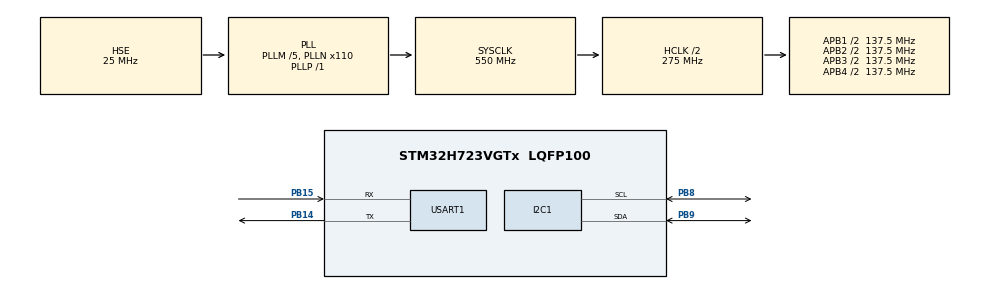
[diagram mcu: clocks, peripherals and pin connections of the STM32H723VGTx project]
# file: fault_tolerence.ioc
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anal#MicroXplorer Configuration settings - do not modify
CORTEX_M7.default_mode_Activation=1
FREERTOS.Tasks01=defaultTask,24,128,StartDefaultTask,Default,NULL,Dynamic,NULL,NULL
I2C1.Timing=0x60404E72
Mcu.Family=STM32H7
Mcu.Name=STM32H723VGTx
Mcu.Package=LQFP100
NVIC.PriorityGroup=NVIC_PRIORITYGROUP_4
NVIC.TIM6_DAC_IRQn=true\:15\:0\:false\:false\:true\:false\:false\:true\:true
NVIC.TimeBase=TIM6_DAC_IRQn
NVIC.TimeBaseIP=TIM6
PB14.Mode=Asynchronous
PB14.Signal=USART1_TX
PB15.Mode=Asynchronous
PB15.Signal=USART1_RX
PB8.Mode=I2C
PB8.Signal=I2C1_SCL
PB9.Mode=I2C
PB9.Signal=I2C1_SDA
PH0-OSC_IN.Mode=HSE-External-Oscillator
PH0-OSC_IN.Signal=RCC_OSC_IN
PH1-OSC_OUT.Mode=HSE-External-Oscillator
PH1-OSC_OUT.Signal=RCC_OSC_OUT
ProjectManager.HeapSize=0x200
ProjectManager.StackSize=0x400
ProjectManager.TargetToolchain=STM32CubeIDE
RCC.ADCFreq_Value=50390625
RCC.APB1Freq_Value=137500000
RCC.APB2Freq_Value=137500000
RCC.APB3Freq_Value=137500000
RCC.APB4Freq_Value=137500000
RCC.CortexFreq_Value=550000000
RCC.D1PPRE=RCC_APB3_DIV2
RCC.D2PPRE1=RCC_APB1_DIV2
RCC.D2PPRE2=RCC_APB2_DIV2
RCC.D3PPRE=RCC_APB4_DIV2
RCC.DIVM1=5
RCC.DIVN1=110
RCC.DIVP1=1
RCC.HCLKFreq_Value=275000000
RCC.HPRE=RCC_HCLK_DIV2
RCC.PLLSourceVirtual=RCC_PLLSOURCE_HSE
RCC.SYSCLKFreq_VALUE=550000000
RCC.SYSCLKSource=RCC_SYSCLKSOURCE_PLLCLK
RCC.USBFreq_Value=275000000
USART1.VirtualMode-Asynchronous=VM_ASYNC
VP_FREERTOS_VS_CMSIS_V2.Mode=CMSIS_V2
VP_MEMORYMAP_VS_MEMORYMAP.Mode=CurAppReg
VP_SYS_VS_tim6.Mode=TIM6
board=custom

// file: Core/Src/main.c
/* USER CODE BEGIN Header */
/**
  ******************************************************************************
  * @file           : main.c
  * @brief          : Main program body
  ******************************************************************************
  * @attention
  *
  * Copyright (c) 2026 STMicroelectronics.
  * All rights reserved.
  *
  * This software is licensed under terms that can be found in the LICENSE file
  * in the root directory of this software component.
  * If no LICENSE file comes with this software, it is provided AS-IS.
  *
  ******************************************************************************
  */
/* USER CODE END Header */
#include "main.h"
#include "FreeRTOS.h"
#include "cmsis_os2.h"

/* USER CODE BEGIN Includes */
#include "app.h"
#include <stdio.h>
/* USER CODE END Includes */

I2C_HandleTypeDef hi2c1;

UART_HandleTypeDef huart1;

/* Definitions for defaultTask */
osThreadId_t defaultTaskHandle;
const osThreadAttr_t defaultTask_attributes = {
  .name = "defaultTask",
  .stack_size = 128 * 4,
  .priority = (osPriority_t) osPriorityNormal,
};

void SystemClock_Config(void);
static void MPU_Config(void);
static void MX_GPIO_Init(void);
static void MX_I2C1_Init(void);
static void MX_USART1_UART_Init(void);
void StartDefaultTask(void *argument);

/* USER CODE BEGIN PFP */
void I2C1_ClearBus(void);
/* USER CODE END PFP */

/* USER CODE BEGIN 0 */
void I2C1_ClearBus(void)
{
  GPIO_InitTypeDef gpio = {0};
  __HAL_RCC_GPIOB_CLK_ENABLE();

  /* Configure PB8 (SCL) and PB9 (SDA) as Open-Drain GPIO outputs with pullup */
  gpio.Pin = GPIO_PIN_8 | GPIO_PIN_9;
  gpio.Mode = GPIO_MODE_OUTPUT_OD;
  gpio.Pull = GPIO_PULLUP;
  gpio.Speed = GPIO_SPEED_FREQ_LOW;
  HAL_GPIO_Init(GPIOB, &gpio);

  /* Set both HIGH initially */
  HAL_GPIO_WritePin(GPIOB, GPIO_PIN_8 | GPIO_PIN_9, GPIO_PIN_SET);
  for (volatile int d = 0; d < 1000; d++) __NOP();

  /* Clock SCL up to 16 times to release SDA if held by a slave */
  for (int i = 0; i < 16; i++)
  {
    if (HAL_GPIO_ReadPin(GPIOB, GPIO_PIN_9) == GPIO_PIN_SET && i >= 9)
    {
      break;
    }
    HAL_GPIO_WritePin(GPIOB, GPIO_PIN_8, GPIO_PIN_RESET);
    for (volatile int d = 0; d < 1000; d++) __NOP();
    HAL_GPIO_WritePin(GPIOB, GPIO_PIN_8, GPIO_PIN_SET);
    for (volatile int d = 0; d < 1000; d++) __NOP();
  }

  /* Generate I2C STOP condition */
  HAL_GPIO_WritePin(GPIOB, GPIO_PIN_9, GPIO_PIN_RESET);
  for (volatile int d = 0; d < 1000; d++) __NOP();
  HAL_GPIO_WritePin(GPIOB, GPIO_PIN_8, GPIO_PIN_SET);
  for (volatile int d = 0; d < 1000; d++) __NOP();
  HAL_GPIO_WritePin(GPIOB, GPIO_PIN_9, GPIO_PIN_SET);
  for (volatile int d = 0; d < 1000; d++) __NOP();
}
/* USER CODE END 0 */

int main(void)
{

  /* MPU Configuration--------------------------------------------------------*/
  MPU_Config();

  /* MCU Configuration--------------------------------------------------------*/

  /* Reset of all peripherals, Initializes the Flash interface and the Systick. */
  HAL_Init();

  /* Configure the system clock */
  SystemClock_Config();

  /* Initialize all configured peripherals */
  MX_GPIO_Init();

  /* Clear any stuck I2C bus state from previous reset */
  I2C1_ClearBus();

  MX_I2C1_Init();
  MX_USART1_UART_Init();
  /* USER CODE BEGIN 2 */
  static const uint8_t startup_banner[] =
      "\r\n=======================================================\r\n"
      " STM32H723 FAULT-TOLERANT MPU6050/6500 RTOS SYSTEM\r\n"
      "=======================================================\r\n";
  (void)HAL_UART_Transmit(&huart1, (uint8_t *)startup_banner,
                          sizeof(startup_banner) - 1U, 100U);

  /* Allow MPU internal Power-On Reset to complete (~100ms) */
  HAL_Delay(100U);

  App_Initialize(&hi2c1, &huart1);
  /* USER CODE END 2 */

  /* Init scheduler */
  osKernelInitialize();

  /* Create the thread(s) */
  /* creation of defaultTask */
  defaultTaskHandle = osThreadNew(StartDefaultTask, NULL, &defaultTask_attributes);

  /* USER CODE BEGIN RTOS_THREADS */
  if (App_CreateTasks() != pdPASS)
  {
    static const uint8_t tasks_failed_message[] = "[APP] Task/IWDG setup FAILED\r\n";
    (void)HAL_UART_Transmit(&huart1, (uint8_t *)tasks_failed_message,
                            sizeof(tasks_failed_message) - 1U, 100U);
    Error_Handler();
  }
  static const uint8_t tasks_created_message[] = "[RTOS] Tasks created; IWDG started\r\n";
  (void)HAL_UART_Transmit(&huart1, (uint8_t *)tasks_created_message,
                          sizeof(tasks_created_message) - 1U, 100U);
  /* USER CODE END RTOS_THREADS */

  /* Start scheduler */
  osKernelStart();

  /* We should never get here as control is now taken by the scheduler */

  /* Infinite loop */
  while (1)
  {

  }
}

void SystemClock_Config(void)
{
  RCC_OscInitTypeDef RCC_OscInitStruct = {0};
  RCC_ClkInitTypeDef RCC_ClkInitStruct = {0};

  /** Supply configuration update enable
  */
  HAL_PWREx_ConfigSupply(PWR_LDO_SUPPLY);

  /** Configure the main internal regulator output voltage
  */
  __HAL_PWR_VOLTAGESCALING_CONFIG(PWR_REGULATOR_VOLTAGE_SCALE0);

  while(!__HAL_PWR_GET_FLAG(PWR_FLAG_VOSRDY)) {}

  /** Initializes the RCC Oscillators according to the specified parameters
  * in the RCC_OscInitTypeDef structure.
  */
  RCC_OscInitStruct.OscillatorType = RCC_OSCILLATORTYPE_HSE;
  RCC_OscInitStruct.HSEState = RCC_HSE_ON;
  RCC_OscInitStruct.PLL.PLLState = RCC_PLL_ON;
  RCC_OscInitStruct.PLL.PLLSource = RCC_PLLSOURCE_HSE;
  RCC_OscInitStruct.PLL.PLLM = 5;
  RCC_OscInitStruct.PLL.PLLN = 110;
  RCC_OscInitStruct.PLL.PLLP = 1;
  RCC_OscInitStruct.PLL.PLLQ = 2;
  RCC_OscInitStruct.PLL.PLLR = 2;
  RCC_OscInitStruct.PLL.PLLRGE = RCC_PLL1VCIRANGE_2;
  RCC_OscInitStruct.PLL.PLLVCOSEL = RCC_PLL1VCOWIDE;
  RCC_OscInitStruct.PLL.PLLFRACN = 0;
  if (HAL_RCC_OscConfig(&RCC_OscInitStruct) != HAL_OK)
  {
    Error_Handler();
  }

  /** Initializes the CPU, AHB and APB buses clocks
  */
  RCC_ClkInitStruct.ClockType = RCC_CLOCKTYPE_HCLK|RCC_CLOCKTYPE_SYSCLK
                              |RCC_CLOCKTYPE_PCLK1|RCC_CLOCKTYPE_PCLK2
                              |RCC_CLOCKTYPE_D3PCLK1|RCC_CLOCKTYPE_D1PCLK1;
  RCC_ClkInitStruct.SYSCLKSource = RCC_SYSCLKSOURCE_PLLCLK;
  RCC_ClkInitStruct.SYSCLKDivider = RCC_SYSCLK_DIV1;
  RCC_ClkInitStruct.AHBCLKDivider = RCC_HCLK_DIV2;
  RCC_ClkInitStruct.APB3CLKDivider = RCC_APB3_DIV2;
  RCC_ClkInitStruct.APB1CLKDivider = RCC_APB1_DIV2;
  RCC_ClkInitStruct.APB2CLKDivider = RCC_APB2_DIV2;
  RCC_ClkInitStruct.APB4CLKDivider = RCC_APB4_DIV2;

  if (HAL_RCC_ClockConfig(&RCC_ClkInitStruct, FLASH_LATENCY_3) != HAL_OK)
  {
    Error_Handler();
  }
}

static void MX_I2C1_Init(void)
{

  hi2c1.Instance = I2C1;
  hi2c1.Init.Timing = 0xD0922E33;
  hi2c1.Init.OwnAddress1 = 0;
  hi2c1.Init.AddressingMode = I2C_ADDRESSINGMODE_7BIT;
  hi2c1.Init.DualAddressMode = I2C_DUALADDRESS_DISABLE;
  hi2c1.Init.OwnAddress2 = 0;
  hi2c1.Init.OwnAddress2Masks = I2C_OA2_NOMASK;
  hi2c1.Init.GeneralCallMode = I2C_GENERALCALL_DISABLE;
  hi2c1.Init.NoStretchMode = I2C_NOSTRETCH_DISABLE;
  if (HAL_I2C_Init(&hi2c1) != HAL_OK)
  {
    Error_Handler();
  }

  /** Configure Analogue filter
  */
  if (HAL_I2CEx_ConfigAnalogFilter(&hi2c1, I2C_ANALOGFILTER_ENABLE) != HAL_OK)
  {
    Error_Handler();
  }

  /** Configure Digital filter
  */
  if (HAL_I2CEx_ConfigDigitalFilter(&hi2c1, 0) != HAL_OK)
  {
    Error_Handler();
  }

}

static void MX_USART1_UART_Init(void)
{

  huart1.Instance = USART1;
  huart1.Init.BaudRate = 115200;
  huart1.Init.WordLength = UART_WORDLENGTH_8B;
  huart1.Init.StopBits = UART_STOPBITS_1;
  huart1.Init.Parity = UART_PARITY_NONE;
  huart1.Init.Mode = UART_MODE_TX_RX;
  huart1.Init.HwFlowCtl = UART_HWCONTROL_NONE;
  huart1.Init.OverSampling = UART_OVERSAMPLING_16;
  huart1.Init.OneBitSampling = UART_ONE_BIT_SAMPLE_DISABLE;
  huart1.Init.ClockPrescaler = UART_PRESCALER_DIV1;
  huart1.AdvancedInit.AdvFeatureInit = UART_ADVFEATURE_NO_INIT;
  if (HAL_UART_Init(&huart1) != HAL_OK)
  {
    Error_Handler();
  }
  if (HAL_UARTEx_SetTxFifoThreshold(&huart1, UART_TXFIFO_THRESHOLD_1_8) != HAL_OK)
  {
    Error_Handler();
  }
  if (HAL_UARTEx_SetRxFifoThreshold(&huart1, UART_RXFIFO_THRESHOLD_1_8) != HAL_OK)
  {
    Error_Handler();
  }
  if (HAL_UARTEx_DisableFifoMode(&huart1) != HAL_OK)
  {
    Error_Handler();
  }

}

static void MX_GPIO_Init(void)
{

  /* GPIO Ports Clock Enable */
  __HAL_RCC_GPIOH_CLK_ENABLE();
  __HAL_RCC_GPIOB_CLK_ENABLE();

}

void StartDefaultTask(void *argument)
{
  for(;;)
  {
    osDelay(1);
  }
}

 /* MPU Configuration */

void MPU_Config(void)
{
  MPU_Region_InitTypeDef MPU_InitStruct = {0};

  /* Disables the MPU */
  HAL_MPU_Disable();

  /** Initializes and configures the Region and the memory to be protected
  */
  MPU_InitStruct.Enable = MPU_REGION_ENABLE;
  MPU_InitStruct.Number = MPU_REGION_NUMBER0;
  MPU_InitStruct.BaseAddress = 0x0;
  MPU_InitStruct.Size = MPU_REGION_SIZE_4GB;
  MPU_InitStruct.SubRegionDisable = 0x87;
  MPU_InitStruct.TypeExtField = MPU_TEX_LEVEL0;
  MPU_InitStruct.AccessPermission = MPU_REGION_NO_ACCESS;
  MPU_InitStruct.DisableExec = MPU_INSTRUCTION_ACCESS_DISABLE;
  MPU_InitStruct.IsShareable = MPU_ACCESS_SHAREABLE;
  MPU_InitStruct.IsCacheable = MPU_ACCESS_NOT_CACHEABLE;
  MPU_InitStruct.IsBufferable = MPU_ACCESS_NOT_BUFFERABLE;

  HAL_MPU_ConfigRegion(&MPU_InitStruct);
  /* Enables the MPU */
  HAL_MPU_Enable(MPU_PRIVILEGED_DEFAULT);

}

void HAL_TIM_PeriodElapsedCallback(TIM_HandleTypeDef *htim)
{
  if (htim->Instance == TIM6)
  {
    HAL_IncTick();
  }
}

void Error_Handler(void)
{
  __disable_irq();
  while (1)
  {
  }
}
